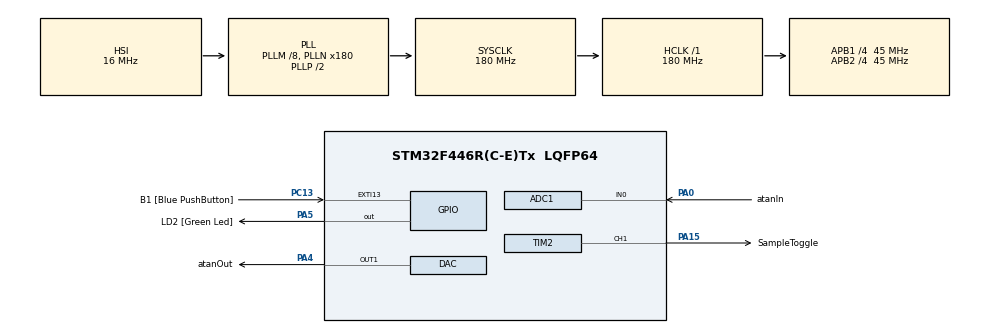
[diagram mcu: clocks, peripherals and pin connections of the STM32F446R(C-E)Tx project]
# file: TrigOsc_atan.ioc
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ADC1.Channel-12\#ChannelRegularConversion=ADC_CHANNEL_0
ADC1.DMAContinuousRequests=ENABLE
ADC1.EOCSelection=ADC_EOC_SEQ_CONV
ADC1.ExternalTrigConv=ADC_EXTERNALTRIGCONV_T2_TRGO
ADC1.NbrOfConversionFlag=1
ADC1.Rank-12\#ChannelRegularConversion=1
ADC1.SamplingTime-12\#ChannelRegularConversion=ADC_SAMPLETIME_3CYCLES
ADC1.master=1
Dma.ADC1.0.Direction=DMA_PERIPH_TO_MEMORY
Dma.ADC1.0.FIFOMode=DMA_FIFOMODE_DISABLE
Dma.ADC1.0.Instance=DMA2_Stream0
Dma.ADC1.0.MemDataAlignment=DMA_MDATAALIGN_WORD
Dma.ADC1.0.MemInc=DMA_MINC_ENABLE
Dma.ADC1.0.Mode=DMA_CIRCULAR
Dma.ADC1.0.PeriphDataAlignment=DMA_PDATAALIGN_WORD
Dma.ADC1.0.PeriphInc=DMA_PINC_DISABLE
Dma.ADC1.0.Priority=DMA_PRIORITY_MEDIUM
Dma.Request0=ADC1
Mcu.Family=STM32F4
Mcu.Name=STM32F446R(C-E)Tx
Mcu.Package=LQFP64
NVIC.ADC_IRQn=true\:0\:0\:false\:false\:true
NVIC.DMA2_Stream0_IRQn=true\:0\:0\:false\:false\:true
NVIC.PriorityGroup=NVIC_PRIORITYGROUP_0
PA0-WKUP.GPIO_Label=atanIn
PA0-WKUP.Signal=ADCx_IN0
PA15.GPIO_Label=SampleToggle
PA15.Signal=S_TIM2_CH1_ETR
PA4.GPIO_Label=atanOut
PA4.Signal=COMP_DAC1_group
PA5.GPIO_Label=LD2 [Green Led]
PA5.Signal=GPIO_Output
PC13.GPIO_Label=B1 [Blue PushButton]
PC13.GPIO_ModeDefaultEXTI=GPIO_MODE_IT_FALLING
PC13.Signal=GPXTI13
ProjectManager.HeapSize=0x200
ProjectManager.StackSize=0x400
ProjectManager.TargetToolchain=MDK-ARM V5
RCC.AHBFreq_Value=180000000
RCC.APB1CLKDivider=RCC_HCLK_DIV4
RCC.APB1Freq_Value=45000000
RCC.APB1TimFreq_Value=90000000
RCC.APB2CLKDivider=RCC_HCLK_DIV4
RCC.APB2Freq_Value=45000000
RCC.APB2TimFreq_Value=90000000
RCC.CortexFreq_Value=180000000
RCC.FLatency-AdvancedSettings=FLASH_LATENCY_5
RCC.HCLKFreq_Value=180000000
RCC.HSE_VALUE=8000000
RCC.HSI_VALUE=16000000
RCC.LSE_VALUE=32768
RCC.PLLM=8
RCC.PLLN=180
RCC.SYSCLKFreq_VALUE=180000000
RCC.SYSCLKSource=RCC_SYSCLKSOURCE_PLLCLK
RCC.USBFreq_Value=180000000
RCC.VCOOutputFreq_Value=360000000
SH.ADCx_IN0.0=ADC1_IN0,IN0
SH.COMP_DAC1_group.0=DAC_OUT1,DAC_OUT1
SH.S_TIM2_CH1_ETR.0=TIM2_CH1,Output Compare1 CH1
TIM2.Channel-Output\ Compare1\ CH1=TIM_CHANNEL_1
TIM2.OCMode_1=TIM_OCMODE_TOGGLE
TIM2.Period=89
TIM2.TIM_MasterOutputTrigger=TIM_TRGO_UPDATE
VP_TIM2_VS_ClockSourceINT.Mode=Internal
board=NUCLEO-F446RE

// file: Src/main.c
/**
  ******************************************************************************
  * File Name          : main.c
  * Description        : Main program body
  ******************************************************************************
  ** This notice applies to any and all portions of this file
  * that are not between comment pairs USER CODE BEGIN and
  * USER CODE END. Other portions of this file, whether
  * inserted by the user or by software development tools
  * are owned by their respective copyright owners.
  *
  * COPYRIGHT(c) 2017 STMicroelectronics
  *
  * Redistribution and use in source and binary forms, with or without modification,
  * are permitted provided that the following conditions are met:
  *   1. Redistributions of source code must retain the above copyright notice,
  *      this list of conditions and the following disclaimer.
  *   2. Redistributions in binary form must reproduce the above copyright notice,
  *      this list of conditions and the following disclaimer in the documentation
  *      and/or other materials provided with the distribution.
  *   3. Neither the name of STMicroelectronics nor the names of its contributors
  *      may be used to endorse or promote products derived from this software
  *      without specific prior written permission.
  *
  * THIS SOFTWARE IS PROVIDED BY THE COPYRIGHT HOLDERS AND CONTRIBUTORS "AS IS"
  * AND ANY EXPRESS OR IMPLIED WARRANTIES, INCLUDING, BUT NOT LIMITED TO, THE
  * IMPLIED WARRANTIES OF MERCHANTABILITY AND FITNESS FOR A PARTICULAR PURPOSE ARE
  * DISCLAIMED. IN NO EVENT SHALL THE COPYRIGHT HOLDER OR CONTRIBUTORS BE LIABLE
  * FOR ANY DIRECT, INDIRECT, INCIDENTAL, SPECIAL, EXEMPLARY, OR CONSEQUENTIAL
  * DAMAGES (INCLUDING, BUT NOT LIMITED TO, PROCUREMENT OF SUBSTITUTE GOODS OR
  * SERVICES; LOSS OF USE, DATA, OR PROFITS; OR BUSINESS INTERRUPTION) HOWEVER
  * CAUSED AND ON ANY THEORY OF LIABILITY, WHETHER IN CONTRACT, STRICT LIABILITY,
  * OR TORT (INCLUDING NEGLIGENCE OR OTHERWISE) ARISING IN ANY WAY OUT OF THE USE
  * OF THIS SOFTWARE, EVEN IF ADVISED OF THE POSSIBILITY OF SUCH DAMAGE.
  *
  ******************************************************************************
  */
#include <math.h>
#include "main.h"
#include "stm32f4xx_hal.h"

ADC_HandleTypeDef hadc1;
DMA_HandleTypeDef hdma_adc1;

DAC_HandleTypeDef hdac;

TIM_HandleTypeDef htim2;

/* USER CODE BEGIN PV */
/* Private variables ---------------------------------------------------------*/
uint32_t ADCValue[1];
uint32_t OutputValue = 0;
/* USER CODE END PV */

void SystemClock_Config(void);
static void MX_GPIO_Init(void);
static void MX_DMA_Init(void);
static void MX_ADC1_Init(void);
static void MX_DAC_Init(void);
static void MX_TIM2_Init(void);

void HAL_TIM_MspPostInit(TIM_HandleTypeDef *htim);

/* USER CODE BEGIN PFP */
/* Private function prototypes -----------------------------------------------*/
float LevelShifter(float arg, char flag);
/* USER CODE END PFP */

int main(void)
{

  /* MCU Configuration----------------------------------------------------------*/

  /* Reset of all peripherals, Initializes the Flash interface and the Systick. */
  HAL_Init();

  /* Configure the system clock */
  SystemClock_Config();

  /* Initialize all configured peripherals */
  MX_GPIO_Init();
  MX_DMA_Init();
  MX_ADC1_Init();
  MX_DAC_Init();
  MX_TIM2_Init();

  /* USER CODE BEGIN 2 */
	HAL_TIM_OC_Start(&htim2, TIM_CHANNEL_1);
	HAL_ADC_Start_DMA(&hadc1, ADCValue, sizeof(uint16_t));
  /* USER CODE END 2 */

  /* Infinite loop */
  while (1)
  {

  }

}

/** System Clock Configuration
*/
void SystemClock_Config(void)
{

  RCC_OscInitTypeDef RCC_OscInitStruct;
  RCC_ClkInitTypeDef RCC_ClkInitStruct;

    /**Configure the main internal regulator output voltage
    */
  __HAL_RCC_PWR_CLK_ENABLE();

  __HAL_PWR_VOLTAGESCALING_CONFIG(PWR_REGULATOR_VOLTAGE_SCALE1);

    /**Initializes the CPU, AHB and APB busses clocks
    */
  RCC_OscInitStruct.OscillatorType = RCC_OSCILLATORTYPE_HSI;
  RCC_OscInitStruct.HSIState = RCC_HSI_ON;
  RCC_OscInitStruct.HSICalibrationValue = 16;
  RCC_OscInitStruct.PLL.PLLState = RCC_PLL_ON;
  RCC_OscInitStruct.PLL.PLLSource = RCC_PLLSOURCE_HSI;
  RCC_OscInitStruct.PLL.PLLM = 8;
  RCC_OscInitStruct.PLL.PLLN = 180;
  RCC_OscInitStruct.PLL.PLLP = RCC_PLLP_DIV2;
  RCC_OscInitStruct.PLL.PLLQ = 2;
  RCC_OscInitStruct.PLL.PLLR = 2;
  if (HAL_RCC_OscConfig(&RCC_OscInitStruct) != HAL_OK)
  {
    _Error_Handler(__FILE__, __LINE__);
  }

    /**Activate the Over-Drive mode
    */
  if (HAL_PWREx_EnableOverDrive() != HAL_OK)
  {
    _Error_Handler(__FILE__, __LINE__);
  }

    /**Initializes the CPU, AHB and APB busses clocks
    */
  RCC_ClkInitStruct.ClockType = RCC_CLOCKTYPE_HCLK|RCC_CLOCKTYPE_SYSCLK
                              |RCC_CLOCKTYPE_PCLK1|RCC_CLOCKTYPE_PCLK2;
  RCC_ClkInitStruct.SYSCLKSource = RCC_SYSCLKSOURCE_PLLCLK;
  RCC_ClkInitStruct.AHBCLKDivider = RCC_SYSCLK_DIV1;
  RCC_ClkInitStruct.APB1CLKDivider = RCC_HCLK_DIV4;
  RCC_ClkInitStruct.APB2CLKDivider = RCC_HCLK_DIV4;

  if (HAL_RCC_ClockConfig(&RCC_ClkInitStruct, FLASH_LATENCY_5) != HAL_OK)
  {
    _Error_Handler(__FILE__, __LINE__);
  }

    /**Configure the Systick interrupt time
    */
  HAL_SYSTICK_Config(HAL_RCC_GetHCLKFreq()/1000);

    /**Configure the Systick
    */
  HAL_SYSTICK_CLKSourceConfig(SYSTICK_CLKSOURCE_HCLK);

  /* SysTick_IRQn interrupt configuration */
  HAL_NVIC_SetPriority(SysTick_IRQn, 0, 0);
}

/* ADC1 init function */
static void MX_ADC1_Init(void)
{

  ADC_ChannelConfTypeDef sConfig;

    /**Configure the global features of the ADC (Clock, Resolution, Data Alignment and number of conversion)
    */
  hadc1.Instance = ADC1;
  hadc1.Init.ClockPrescaler = ADC_CLOCK_SYNC_PCLK_DIV2;
  hadc1.Init.Resolution = ADC_RESOLUTION_12B;
  hadc1.Init.ScanConvMode = DISABLE;
  hadc1.Init.ContinuousConvMode = DISABLE;
  hadc1.Init.DiscontinuousConvMode = DISABLE;
  hadc1.Init.ExternalTrigConvEdge = ADC_EXTERNALTRIGCONVEDGE_RISING;
  hadc1.Init.ExternalTrigConv = ADC_EXTERNALTRIGCONV_T2_TRGO;
  hadc1.Init.DataAlign = ADC_DATAALIGN_RIGHT;
  hadc1.Init.NbrOfConversion = 1;
  hadc1.Init.DMAContinuousRequests = ENABLE;
  hadc1.Init.EOCSelection = ADC_EOC_SEQ_CONV;
  if (HAL_ADC_Init(&hadc1) != HAL_OK)
  {
    _Error_Handler(__FILE__, __LINE__);
  }

    /**Configure for the selected ADC regular channel its corresponding rank in the sequencer and its sample time.
    */
  sConfig.Channel = ADC_CHANNEL_0;
  sConfig.Rank = 1;
  sConfig.SamplingTime = ADC_SAMPLETIME_3CYCLES;
  if (HAL_ADC_ConfigChannel(&hadc1, &sConfig) != HAL_OK)
  {
    _Error_Handler(__FILE__, __LINE__);
  }

}

/* DAC init function */
static void MX_DAC_Init(void)
{

  DAC_ChannelConfTypeDef sConfig;

    /**DAC Initialization
    */
  hdac.Instance = DAC;
  if (HAL_DAC_Init(&hdac) != HAL_OK)
  {
    _Error_Handler(__FILE__, __LINE__);
  }

    /**DAC channel OUT1 config
    */
  sConfig.DAC_Trigger = DAC_TRIGGER_NONE;
  sConfig.DAC_OutputBuffer = DAC_OUTPUTBUFFER_ENABLE;
  if (HAL_DAC_ConfigChannel(&hdac, &sConfig, DAC_CHANNEL_1) != HAL_OK)
  {
    _Error_Handler(__FILE__, __LINE__);
  }

}

/* TIM2 init function */
static void MX_TIM2_Init(void)
{

  TIM_ClockConfigTypeDef sClockSourceConfig;
  TIM_MasterConfigTypeDef sMasterConfig;
  TIM_OC_InitTypeDef sConfigOC;

  htim2.Instance = TIM2;
  htim2.Init.Prescaler = 0;
  htim2.Init.CounterMode = TIM_COUNTERMODE_UP;
  htim2.Init.Period = 89;
  htim2.Init.ClockDivision = TIM_CLOCKDIVISION_DIV1;
  if (HAL_TIM_Base_Init(&htim2) != HAL_OK)
  {
    _Error_Handler(__FILE__, __LINE__);
  }

  sClockSourceConfig.ClockSource = TIM_CLOCKSOURCE_INTERNAL;
  if (HAL_TIM_ConfigClockSource(&htim2, &sClockSourceConfig) != HAL_OK)
  {
    _Error_Handler(__FILE__, __LINE__);
  }

  if (HAL_TIM_OC_Init(&htim2) != HAL_OK)
  {
    _Error_Handler(__FILE__, __LINE__);
  }

  sMasterConfig.MasterOutputTrigger = TIM_TRGO_UPDATE;
  sMasterConfig.MasterSlaveMode = TIM_MASTERSLAVEMODE_DISABLE;
  if (HAL_TIMEx_MasterConfigSynchronization(&htim2, &sMasterConfig) != HAL_OK)
  {
    _Error_Handler(__FILE__, __LINE__);
  }

  sConfigOC.OCMode = TIM_OCMODE_TOGGLE;
  sConfigOC.Pulse = 0;
  sConfigOC.OCPolarity = TIM_OCPOLARITY_HIGH;
  sConfigOC.OCFastMode = TIM_OCFAST_DISABLE;
  if (HAL_TIM_OC_ConfigChannel(&htim2, &sConfigOC, TIM_CHANNEL_1) != HAL_OK)
  {
    _Error_Handler(__FILE__, __LINE__);
  }

  HAL_TIM_MspPostInit(&htim2);

}

static void MX_DMA_Init(void)
{
  /* DMA controller clock enable */
  __HAL_RCC_DMA2_CLK_ENABLE();

  /* DMA interrupt init */
  /* DMA2_Stream0_IRQn interrupt configuration */
  HAL_NVIC_SetPriority(DMA2_Stream0_IRQn, 0, 0);
  HAL_NVIC_EnableIRQ(DMA2_Stream0_IRQn);

}

/** Configure pins as
        * Analog
        * Input
        * Output
        * EVENT_OUT
        * EXTI
*/
static void MX_GPIO_Init(void)
{

  GPIO_InitTypeDef GPIO_InitStruct;

  /* GPIO Ports Clock Enable */
  __HAL_RCC_GPIOC_CLK_ENABLE();
  __HAL_RCC_GPIOA_CLK_ENABLE();

  /*Configure GPIO pin Output Level */
  HAL_GPIO_WritePin(LD2_GPIO_Port, LD2_Pin, GPIO_PIN_RESET);

  /*Configure GPIO pin : B1_Pin */
  GPIO_InitStruct.Pin = B1_Pin;
  GPIO_InitStruct.Mode = GPIO_MODE_IT_FALLING;
  GPIO_InitStruct.Pull = GPIO_NOPULL;
  HAL_GPIO_Init(B1_GPIO_Port, &GPIO_InitStruct);

  /*Configure GPIO pin : LD2_Pin */
  GPIO_InitStruct.Pin = LD2_Pin;
  GPIO_InitStruct.Mode = GPIO_MODE_OUTPUT_PP;
  GPIO_InitStruct.Pull = GPIO_NOPULL;
  GPIO_InitStruct.Speed = GPIO_SPEED_FREQ_LOW;
  HAL_GPIO_Init(LD2_GPIO_Port, &GPIO_InitStruct);

}

/* USER CODE BEGIN 4 */
void HAL_ADC_ConvCpltCallback(ADC_HandleTypeDef* hadc){
	float tmp = 0;
	float tmp2 = 0;
	//float

	tmp = ADCValue[0];
	tmp2 = LevelShifter(tmp, 'i');
	tmp = 6 * atan(tmp2);
	OutputValue = LevelShifter(tmp, 'o');
	HAL_DAC_SetValue(&hdac, DAC_CHANNEL_1, DAC_ALIGN_12B_R, OutputValue);
}

/*
 *	This maps the [0,3.3] input of the ADC
 *	to a [-18,18] range for proper arctan
 *	evaluation.
 */
float LevelShifter(float arg, char flag){

	if(flag == 'i'){
		return arg * (float)(36/4095) - 18;
	}else if(flag == 'o'){
		return floor(((long)arg + 1.570)*(long)(4095 / 3.1415));
	}
	return 0;
}

/* USER CODE END 4 */

void _Error_Handler(char * file, int line)
{
  while(1)
  {
  }
}

/************************ (C) COPYRIGHT STMicroelectronics *****END OF FILE****/
